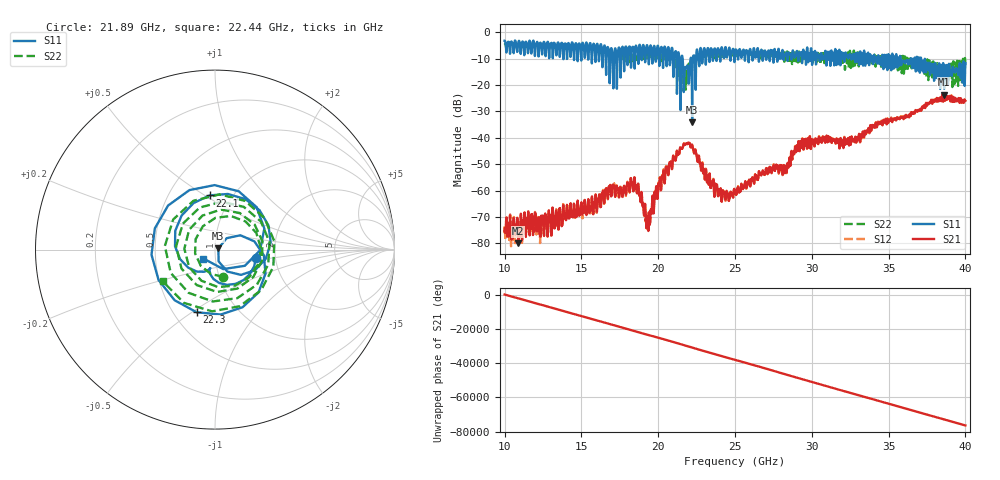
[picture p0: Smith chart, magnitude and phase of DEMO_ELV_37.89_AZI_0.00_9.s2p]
! 11/3/2026 12:50:26 PM
! C:\ANRITSUVNA\TEMP\TEMP.S2P
! CHANNEL.1
! TR.MEASUREMENT
! RAW.DATA
# HZ S RI R 50.0
! FREQ.HZ  S11RE  S11IM  S21RE  S21IM  S12RE  S12IM  S22RE  S22IM
!; PortSelection: Port_12
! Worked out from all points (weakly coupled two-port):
!   3001 points, 10 GHz to 40 GHz, reference 50 ohm
!   highest |S21| = -23.58 dB at 38.61 GHz (marker M1); lowest = -80.0 dB at 10.89 GHz (marker M2)
!   lowest |S11| = -34.1 dB at 22.21 GHz (marker M3), VSWR 1.04, Z = 51.9 + j0.662 ohm
!   |S11| at or under -10 dB: 21.59 GHz to 22.11 GHz (517.9 MHz wide, 2.37 % of centre); 35.78 GHz to 36.45 GHz (666.6 MHz wide, 1.85 % of centre); 37.12 GHz to end of sweep (the widest 3 of 108)
!   |S22| runs from -22.2 to -4.5 dB; largest |S21 - S12| = 0.082
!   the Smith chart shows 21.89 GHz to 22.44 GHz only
!   S11 on the Smith chart (normalised r, x): 21.89 GHz: 1.58, -0.16; 22.1 GHz: 0.79, +0.52; 22.3 GHz: 0.65, -0.52; 22.44 GHz: 0.87, -0.09
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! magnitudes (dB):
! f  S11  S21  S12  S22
! 10 GHz  -3.2  -74.4  -73.5  -4.7
! 10.89 GHz  -4.1  -80.0  -78.6  -5.3
! 15 GHz  -9.9  -64.4  -64.4  -6.4
! 16.39 GHz  -10.0  -60.8  -61.2  -7.2
! 17.19 GHz  -6.2  -62.2  -61.8  -7.8
! 18.34 GHz  -5.5  -58.5  -58.6  -10.9
! 19.34 GHz  -7.1  -73.3  -73.8  -7.3
! 20 GHz  -5.4  -58.4  -58.4  -7.5
! 21.89 GHz  -12.6  -42.4  -42.4  -16.0
! 22.1 GHz  -10.4  -43.6  -43.3  -12.2
! 22.21 GHz  -34.1  -42.7  -42.8  -12.1
! 22.3 GHz  -8.8  -44.8  -44.8  -11.0
! 22.44 GHz  -21.8  -45.1  -45.2  -9.4
! 23.78 GHz  -10.0  -59.3  -59.6  -9.3
! 25 GHz  -7.6  -61.2  -60.6  -8.3
! 28.23 GHz  -8.6  -53.1  -53.0  -10.0
! 29.02 GHz  -7.1  -42.9  -42.9  -8.1
! 30 GHz  -10.3  -40.4  -40.4  -8.0
! 33.02 GHz  -7.7  -40.5  -40.8  -9.1
! 35 GHz  -8.5  -33.9  -33.8  -11.0
! 38.61 GHz  -21.0  -23.6  -23.5  -16.1
! 40 GHz  -11.7  -26.0  -26.0  -12.3
